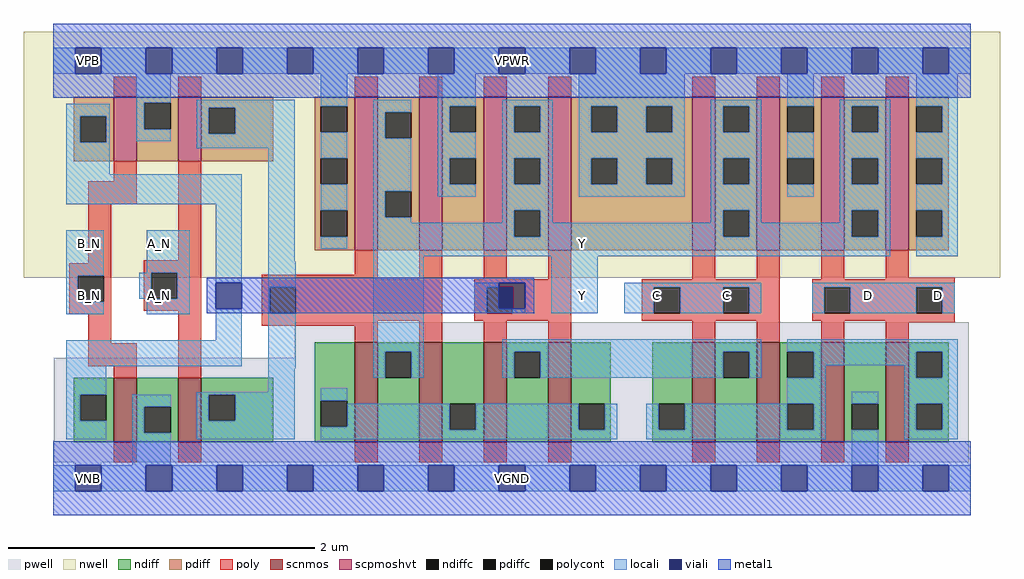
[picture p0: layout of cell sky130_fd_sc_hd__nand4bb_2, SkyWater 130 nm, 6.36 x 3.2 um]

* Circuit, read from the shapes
.subckt sky130_fd_sc_hd__nand4bb_2 A_N B_N C D VGND VNB VPB VPWR Y
XM1 VGND B_N n1 VNB sky130_fd_pr__nfet_01v8 w=0.42 l=0.15
XM2 n2 A_N VGND VNB sky130_fd_pr__nfet_01v8 w=0.42 l=0.15
XM3 Y n2 n3 VNB sky130_fd_pr__nfet_01v8 w=0.65 l=0.15 m=2
XM4 n4 n1 n3 VNB sky130_fd_pr__nfet_01v8 w=0.65 l=0.15 m=2
XM5 n4 C n5 VNB sky130_fd_pr__nfet_01v8 w=0.65 l=0.15 m=2
XM6 VGND D n5 VNB sky130_fd_pr__nfet_01v8 w=0.65 l=0.15 m=2
XM7 VPWR B_N n1 VPB sky130_fd_pr__pfet_01v8_hvt w=0.42 l=0.15
XM8 n2 A_N VPWR VPB sky130_fd_pr__pfet_01v8_hvt w=0.42 l=0.15
XM9 Y n2 VPWR VPB sky130_fd_pr__pfet_01v8_hvt w=1 l=0.15 m=2
XM10 Y n1 VPWR VPB sky130_fd_pr__pfet_01v8_hvt w=1 l=0.15 m=2
XM11 Y C VPWR VPB sky130_fd_pr__pfet_01v8_hvt w=1 l=0.15 m=2
XM12 Y D VPWR VPB sky130_fd_pr__pfet_01v8_hvt w=1 l=0.15 m=2
.ends

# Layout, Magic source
magic
tech sky130A
magscale 1 2
<< nwell >>
rect -38 261 1234 582
<< pwell >>
rect 315 157 1193 203
rect 1 21 1193 157
rect 29 -17 63 21
<< scnmos >>
rect 79 47 109 131
rect 163 47 193 131
rect 393 47 423 177
rect 477 47 507 177
rect 561 47 591 177
rect 645 47 675 177
rect 833 47 863 177
rect 917 47 947 177
rect 1001 47 1031 177
rect 1085 47 1115 177
<< scpmoshvt >>
rect 79 413 109 497
rect 163 413 193 497
rect 393 297 423 497
rect 477 297 507 497
rect 561 297 591 497
rect 645 297 675 497
rect 833 297 863 497
rect 917 297 947 497
rect 1001 297 1031 497
rect 1085 297 1115 497
<< ndiff >>
rect 27 109 79 131
rect 27 75 35 109
rect 69 75 79 109
rect 27 47 79 75
rect 109 93 163 131
rect 109 59 119 93
rect 153 59 163 93
rect 109 47 163 59
rect 193 109 287 131
rect 193 75 203 109
rect 237 75 287 109
rect 193 47 287 75
rect 341 101 393 177
rect 341 67 349 101
rect 383 67 393 101
rect 341 47 393 67
rect 423 165 477 177
rect 423 131 433 165
rect 467 131 477 165
rect 423 47 477 131
rect 507 97 561 177
rect 507 63 517 97
rect 551 63 561 97
rect 507 47 561 63
rect 591 165 645 177
rect 591 131 601 165
rect 635 131 645 165
rect 591 47 645 131
rect 675 97 727 177
rect 675 63 685 97
rect 719 63 727 97
rect 675 47 727 63
rect 781 97 833 177
rect 781 63 789 97
rect 823 63 833 97
rect 781 47 833 63
rect 863 165 917 177
rect 863 131 873 165
rect 907 131 917 165
rect 863 47 917 131
rect 947 165 1001 177
rect 947 131 957 165
rect 991 131 1001 165
rect 947 97 1001 131
rect 947 63 957 97
rect 991 63 1001 97
rect 947 47 1001 63
rect 1031 97 1085 177
rect 1031 63 1041 97
rect 1075 63 1085 97
rect 1031 47 1085 63
rect 1115 165 1167 177
rect 1115 131 1125 165
rect 1159 131 1167 165
rect 1115 97 1167 131
rect 1115 63 1125 97
rect 1159 63 1167 97
rect 1115 47 1167 63
<< pdiff >>
rect 27 472 79 497
rect 27 438 35 472
rect 69 438 79 472
rect 27 413 79 438
rect 109 489 163 497
rect 109 455 119 489
rect 153 455 163 489
rect 109 413 163 455
rect 193 483 287 497
rect 193 449 203 483
rect 237 449 287 483
rect 193 413 287 449
rect 341 485 393 497
rect 341 451 349 485
rect 383 451 393 485
rect 341 417 393 451
rect 341 383 349 417
rect 383 383 393 417
rect 341 349 393 383
rect 341 315 349 349
rect 383 315 393 349
rect 341 297 393 315
rect 423 477 477 497
rect 423 443 433 477
rect 467 443 477 477
rect 423 374 477 443
rect 423 340 433 374
rect 467 340 477 374
rect 423 297 477 340
rect 507 485 561 497
rect 507 451 517 485
rect 551 451 561 485
rect 507 417 561 451
rect 507 383 517 417
rect 551 383 561 417
rect 507 297 561 383
rect 591 485 645 497
rect 591 451 601 485
rect 635 451 645 485
rect 591 417 645 451
rect 591 383 601 417
rect 635 383 645 417
rect 591 349 645 383
rect 591 315 601 349
rect 635 315 645 349
rect 591 297 645 315
rect 675 485 833 497
rect 675 451 701 485
rect 735 451 773 485
rect 807 451 833 485
rect 675 417 833 451
rect 675 383 701 417
rect 735 383 773 417
rect 807 383 833 417
rect 675 297 833 383
rect 863 485 917 497
rect 863 451 873 485
rect 907 451 917 485
rect 863 417 917 451
rect 863 383 873 417
rect 907 383 917 417
rect 863 349 917 383
rect 863 315 873 349
rect 907 315 917 349
rect 863 297 917 315
rect 947 485 1001 497
rect 947 451 957 485
rect 991 451 1001 485
rect 947 417 1001 451
rect 947 383 957 417
rect 991 383 1001 417
rect 947 297 1001 383
rect 1031 485 1085 497
rect 1031 451 1041 485
rect 1075 451 1085 485
rect 1031 417 1085 451
rect 1031 383 1041 417
rect 1075 383 1085 417
rect 1031 349 1085 383
rect 1031 315 1041 349
rect 1075 315 1085 349
rect 1031 297 1085 315
rect 1115 485 1167 497
rect 1115 451 1125 485
rect 1159 451 1167 485
rect 1115 417 1167 451
rect 1115 383 1125 417
rect 1159 383 1167 417
rect 1115 349 1167 383
rect 1115 315 1125 349
rect 1159 315 1167 349
rect 1115 297 1167 315
<< ndiffc >>
rect 35 75 69 109
rect 119 59 153 93
rect 203 75 237 109
rect 349 67 383 101
rect 433 131 467 165
rect 517 63 551 97
rect 601 131 635 165
rect 685 63 719 97
rect 789 63 823 97
rect 873 131 907 165
rect 957 131 991 165
rect 957 63 991 97
rect 1041 63 1075 97
rect 1125 131 1159 165
rect 1125 63 1159 97
<< pdiffc >>
rect 35 438 69 472
rect 119 455 153 489
rect 203 449 237 483
rect 349 451 383 485
rect 349 383 383 417
rect 349 315 383 349
rect 433 443 467 477
rect 433 340 467 374
rect 517 451 551 485
rect 517 383 551 417
rect 601 451 635 485
rect 601 383 635 417
rect 601 315 635 349
rect 701 451 735 485
rect 773 451 807 485
rect 701 383 735 417
rect 773 383 807 417
rect 873 451 907 485
rect 873 383 907 417
rect 873 315 907 349
rect 957 451 991 485
rect 957 383 991 417
rect 1041 451 1075 485
rect 1041 383 1075 417
rect 1041 315 1075 349
rect 1125 451 1159 485
rect 1125 383 1159 417
rect 1125 315 1159 349
<< poly >>
rect 79 497 109 523
rect 163 497 193 523
rect 393 497 423 523
rect 477 497 507 523
rect 561 497 591 523
rect 645 497 675 523
rect 833 497 863 523
rect 917 497 947 523
rect 1001 497 1031 523
rect 1085 497 1115 523
rect 79 387 109 413
rect 46 357 109 387
rect 46 280 76 357
rect 163 284 193 413
rect 21 264 76 280
rect 21 230 32 264
rect 66 230 76 264
rect 21 214 76 230
rect 118 268 193 284
rect 118 234 128 268
rect 162 234 193 268
rect 393 265 423 297
rect 118 218 193 234
rect 46 176 76 214
rect 46 146 109 176
rect 79 131 109 146
rect 163 131 193 218
rect 272 259 423 265
rect 477 259 507 297
rect 561 259 591 297
rect 645 259 675 297
rect 833 259 863 297
rect 917 259 947 297
rect 1001 259 1031 297
rect 1085 261 1115 297
rect 1085 259 1175 261
rect 272 249 507 259
rect 272 215 282 249
rect 316 215 507 249
rect 272 205 507 215
rect 549 249 675 259
rect 549 215 565 249
rect 599 215 675 249
rect 549 205 675 215
rect 767 249 947 259
rect 767 215 783 249
rect 817 215 873 249
rect 907 215 947 249
rect 767 205 947 215
rect 989 249 1175 259
rect 989 215 1005 249
rect 1039 215 1125 249
rect 1159 215 1175 249
rect 989 205 1175 215
rect 272 199 423 205
rect 393 177 423 199
rect 477 177 507 205
rect 561 177 591 205
rect 645 177 675 205
rect 833 177 863 205
rect 917 177 947 205
rect 1001 177 1031 205
rect 1085 203 1175 205
rect 1085 177 1115 203
rect 79 21 109 47
rect 163 21 193 47
rect 393 21 423 47
rect 477 21 507 47
rect 561 21 591 47
rect 645 21 675 47
rect 833 21 863 47
rect 917 21 947 47
rect 1001 21 1031 47
rect 1085 21 1115 47
<< polycont >>
rect 32 230 66 264
rect 128 234 162 268
rect 282 215 316 249
rect 565 215 599 249
rect 783 215 817 249
rect 873 215 907 249
rect 1005 215 1039 249
rect 1125 215 1159 249
<< locali >>
rect 0 527 29 561
rect 63 527 121 561
rect 155 527 213 561
rect 247 527 305 561
rect 339 527 397 561
rect 431 527 489 561
rect 523 527 581 561
rect 615 527 673 561
rect 707 527 765 561
rect 799 527 857 561
rect 891 527 949 561
rect 983 527 1041 561
rect 1075 527 1133 561
rect 1167 527 1196 561
rect 108 489 153 527
rect 17 472 74 488
rect 17 438 35 472
rect 69 438 74 472
rect 108 455 119 489
rect 108 439 153 455
rect 187 483 315 493
rect 187 449 203 483
rect 237 449 315 483
rect 17 396 74 438
rect 187 430 315 449
rect 17 357 246 396
rect 17 264 66 323
rect 122 268 178 323
rect 17 230 32 264
rect 112 234 128 268
rect 162 234 178 268
rect 17 214 66 230
rect 122 214 178 234
rect 212 255 246 357
rect 212 180 246 221
rect 17 146 246 180
rect 280 282 315 430
rect 349 485 383 527
rect 349 417 383 451
rect 349 349 383 383
rect 349 299 383 315
rect 417 477 467 493
rect 417 443 433 477
rect 417 374 467 443
rect 417 340 433 374
rect 501 485 551 527
rect 501 451 517 485
rect 501 417 551 451
rect 501 383 517 417
rect 501 367 551 383
rect 585 485 651 493
rect 585 451 601 485
rect 635 451 651 485
rect 585 417 651 451
rect 585 383 601 417
rect 635 383 651 417
rect 417 333 467 340
rect 585 349 651 383
rect 685 485 823 527
rect 685 451 701 485
rect 735 451 773 485
rect 807 451 823 485
rect 685 417 823 451
rect 685 383 701 417
rect 735 383 773 417
rect 807 383 823 417
rect 685 367 823 383
rect 857 485 923 493
rect 857 451 873 485
rect 907 451 923 485
rect 857 417 923 451
rect 857 383 873 417
rect 907 383 923 417
rect 585 333 601 349
rect 417 315 601 333
rect 635 333 651 349
rect 857 349 923 383
rect 957 485 991 527
rect 957 417 991 451
rect 957 367 991 383
rect 1025 485 1091 493
rect 1025 451 1041 485
rect 1075 451 1091 485
rect 1025 417 1091 451
rect 1025 383 1041 417
rect 1075 383 1091 417
rect 857 333 873 349
rect 635 315 873 333
rect 907 333 923 349
rect 1025 349 1091 383
rect 1025 333 1041 349
rect 907 315 1041 333
rect 1075 315 1091 349
rect 417 289 1091 315
rect 1125 485 1179 527
rect 1159 451 1179 485
rect 1125 417 1179 451
rect 1159 383 1179 417
rect 1125 349 1179 383
rect 1159 315 1179 349
rect 1125 289 1179 315
rect 280 249 316 282
rect 280 215 282 249
rect 17 109 69 146
rect 280 143 316 215
rect 417 165 483 289
rect 549 249 581 255
rect 549 215 565 249
rect 599 215 615 221
rect 649 215 710 289
rect 744 249 923 255
rect 744 215 783 249
rect 817 215 873 249
rect 907 215 923 249
rect 989 249 1175 255
rect 989 215 1005 249
rect 1039 215 1125 249
rect 1159 215 1175 249
rect 280 112 315 143
rect 417 131 433 165
rect 467 131 483 165
rect 585 165 923 181
rect 585 131 601 165
rect 635 131 873 165
rect 907 131 923 165
rect 957 165 1179 181
rect 991 147 1125 165
rect 991 131 1007 147
rect 187 109 315 112
rect 17 75 35 109
rect 17 51 69 75
rect 103 93 153 109
rect 103 59 119 93
rect 103 17 153 59
rect 187 75 203 109
rect 237 75 315 109
rect 187 51 315 75
rect 349 101 383 117
rect 957 97 1007 131
rect 1109 131 1125 147
rect 1159 131 1179 165
rect 383 67 517 97
rect 349 63 517 67
rect 551 63 685 97
rect 719 63 735 97
rect 349 51 735 63
rect 773 63 789 97
rect 823 63 957 97
rect 991 63 1007 97
rect 773 51 1007 63
rect 1041 97 1075 113
rect 1041 17 1075 63
rect 1109 97 1179 131
rect 1109 63 1125 97
rect 1159 63 1179 97
rect 1109 51 1179 63
rect 0 -17 29 17
rect 63 -17 121 17
rect 155 -17 213 17
rect 247 -17 305 17
rect 339 -17 397 17
rect 431 -17 489 17
rect 523 -17 581 17
rect 615 -17 673 17
rect 707 -17 765 17
rect 799 -17 857 17
rect 891 -17 949 17
rect 983 -17 1041 17
rect 1075 -17 1133 17
rect 1167 -17 1196 17
<< viali >>
rect 29 527 63 561
rect 121 527 155 561
rect 213 527 247 561
rect 305 527 339 561
rect 397 527 431 561
rect 489 527 523 561
rect 581 527 615 561
rect 673 527 707 561
rect 765 527 799 561
rect 857 527 891 561
rect 949 527 983 561
rect 1041 527 1075 561
rect 1133 527 1167 561
rect 212 221 246 255
rect 581 249 615 255
rect 581 221 599 249
rect 599 221 615 249
rect 29 -17 63 17
rect 121 -17 155 17
rect 213 -17 247 17
rect 305 -17 339 17
rect 397 -17 431 17
rect 489 -17 523 17
rect 581 -17 615 17
rect 673 -17 707 17
rect 765 -17 799 17
rect 857 -17 891 17
rect 949 -17 983 17
rect 1041 -17 1075 17
rect 1133 -17 1167 17
<< metal1 >>
rect 0 561 1196 592
rect 0 527 29 561
rect 63 527 121 561
rect 155 527 213 561
rect 247 527 305 561
rect 339 527 397 561
rect 431 527 489 561
rect 523 527 581 561
rect 615 527 673 561
rect 707 527 765 561
rect 799 527 857 561
rect 891 527 949 561
rect 983 527 1041 561
rect 1075 527 1133 561
rect 1167 527 1196 561
rect 0 496 1196 527
rect 200 255 627 261
rect 200 221 212 255
rect 246 221 581 255
rect 615 221 627 255
rect 200 215 627 221
rect 0 17 1196 48
rect 0 -17 29 17
rect 63 -17 121 17
rect 155 -17 213 17
rect 247 -17 305 17
rect 339 -17 397 17
rect 431 -17 489 17
rect 523 -17 581 17
rect 615 -17 673 17
rect 707 -17 765 17
rect 799 -17 857 17
rect 891 -17 949 17
rect 983 -17 1041 17
rect 1075 -17 1133 17
rect 1167 -17 1196 17
rect 0 -48 1196 -17
<< labels >>
flabel locali s 1137 221 1171 255 0 FreeSans 200 0 0 0 D
port 4 nsew signal input
flabel locali s 1045 221 1079 255 0 FreeSans 200 0 0 0 D
port 4 nsew signal input
flabel locali s 769 221 803 255 0 FreeSans 200 0 0 0 C
port 3 nsew signal input
flabel locali s 30 289 64 323 0 FreeSans 200 0 0 0 B_N
port 2 nsew signal input
flabel locali s 30 221 64 255 0 FreeSans 200 0 0 0 B_N
port 2 nsew signal input
flabel locali s 122 289 156 323 0 FreeSans 200 0 0 0 A_N
port 1 nsew signal input
flabel locali s 122 221 156 255 0 FreeSans 200 0 0 0 A_N
port 1 nsew signal input
flabel locali s 673 289 707 323 0 FreeSans 200 0 0 0 Y
port 9 nsew signal output
flabel locali s 673 221 707 255 0 FreeSans 200 0 0 0 Y
port 9 nsew signal output
flabel locali s 861 221 895 255 0 FreeSans 200 0 0 0 C
port 3 nsew signal input
flabel pwell s 29 -17 63 17 0 FreeSans 200 0 0 0 VNB
port 6 nsew ground bidirectional
flabel nwell s 29 527 63 561 0 FreeSans 200 0 0 0 VPB
port 7 nsew power bidirectional
flabel metal1 s 29 -17 63 17 0 FreeSans 200 0 0 0 VGND
port 5 nsew ground bidirectional abutment
flabel metal1 s 29 527 63 561 0 FreeSans 200 0 0 0 VPWR
port 8 nsew power bidirectional abutment
rlabel comment s 0 0 0 0 4 nand4bb_2
rlabel metal1 s 0 -48 1196 48 1 VGND
port 5 nsew ground bidirectional abutment
rlabel metal1 s 0 496 1196 592 1 VPWR
port 8 nsew power bidirectional abutment
<< properties >>
string FIXED_BBOX 0 0 1196 544
string GDS_END 1938934
string GDS_FILE $PDKPATH/libs.ref/sky130_fd_sc_hd/gds/sky130_fd_sc_hd.gds
string GDS_START 1928546
string LEFclass CORE
string LEFsite unithd
string LEFsymmetry X Y R90
string path 0.000 0.000 29.900 0.000 
<< end >>
